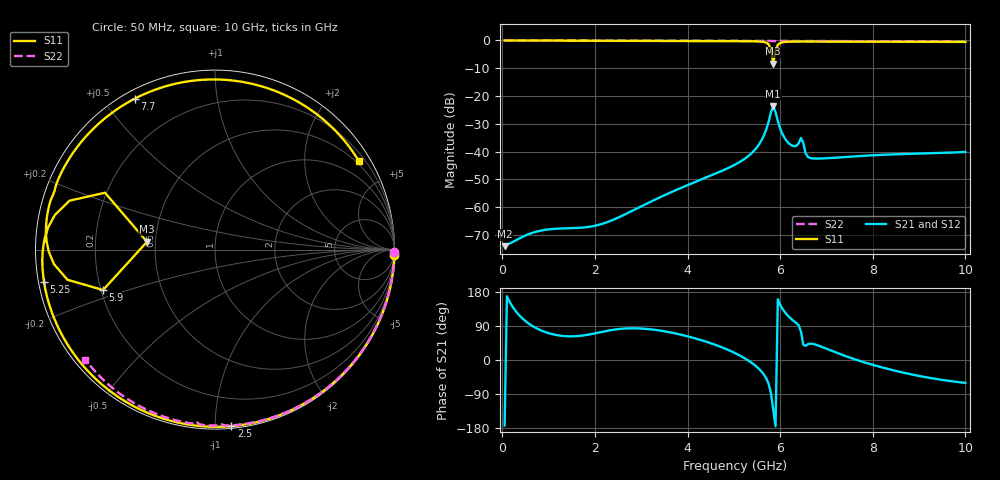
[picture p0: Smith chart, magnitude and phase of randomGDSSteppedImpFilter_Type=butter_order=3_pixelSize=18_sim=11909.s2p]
! freq	dB(S11)	phase(S11)	dB(S12)	phase(S12)
!  dB(S21)	phase(S21)	dB(S22)	phase(S22)
!S-par simulation data
#  GHz  S  DB  R 50
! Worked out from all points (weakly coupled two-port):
!   200 points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, 50 MHz to 10 GHz, reference 50 ohm
!   highest |S21| = -23.70 dB at 5.85 GHz (marker M1); lowest = -74.1 dB at 50 MHz (marker M2)
!   lowest |S11| = -8.4 dB at 5.85 GHz (marker M3), VSWR 2.23, Z = 22.5 + j2.28 ohm
!   |S11| at or under -10 dB: nowhere
!   |S22| runs from -0.5 to 0.0 dB; largest |S21 - S12| = 0
!   S11 on the Smith chart (normalised r, x): 50 MHz: 0, -64; 2.5 GHz: 0.01, -1.10; 5.25 GHz: 0.02, -0.09; 5.9 GHz: 0.21, -0.17; 7.7 GHz: 0.03, +0.60; 10 GHz: 0.41, +3.50
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0.05  -0.00 -1.8  -74.08 -173.0  -74.08 -173.0  -0.00 -0.8
0.75  -0.03 -26.5  -68.79 82.9  -68.79 82.9  -0.01 -12.1
1.75  -0.08 -60.4  -67.37 64.8  -67.37 64.8  -0.04 -27.9
2.5  -0.10 -84.7  -63.82 81.4  -63.82 81.4  -0.05 -39.6
3.4  -0.14 -112.5  -56.52 77.8  -56.52 77.8  -0.07 -53.1
5.05  -0.24 -162.5  -44.50 16.8  -44.50 16.8  -0.12 -76.8
5.25  -0.27 -169.3  -42.42 3.5  -42.42 3.5  -0.13 -79.6
5.5  -0.35 -179.1  -38.44 -18.6  -38.44 -18.6  -0.14 -83.0
5.7  -0.79 167.8  -32.05 -48.4  -32.05 -48.4  -0.15 -85.8
5.8  -3.23 152.7  -25.96 -86.5  -25.96 -86.5  -0.19 -87.3
5.85  -8.37 173.5  -23.70 -130.2  -23.70 -130.2  -0.23 -87.8
5.9  -3.57 -160.1  -25.76 -174.8  -25.76 -174.8  -0.20 -88.1
6  -0.91 -174.8  -31.71 145.5  -31.71 145.5  -0.17 -89.5
6.15  -0.48 174.4  -36.39 119.2  -36.39 119.2  -0.17 -91.6
6.35  -0.39 165.4  -37.93 97.4  -37.93 97.4  -0.19 -94.4
6.45  -0.42 161.4  -35.10 74.6  -35.10 74.6  -0.27 -95.8
6.55  -0.39 158.2  -40.63 37.4  -40.63 37.4  -0.22 -96.5
6.7  -0.38 152.8  -42.47 42.6  -42.47 42.6  -0.20 -98.6
7.7  -0.42 118.0  -41.64 -1.7  -41.64 -1.7  -0.26 -111.5
8.35  -0.46 94.3  -41.08 -24.4  -41.08 -24.4  -0.31 -119.5
9.15  -0.49 64.0  -40.69 -45.5  -40.69 -45.5  -0.38 -129.3
10  -0.53 31.5  -40.14 -60.4  -40.14 -60.4  -0.48 -139.7
